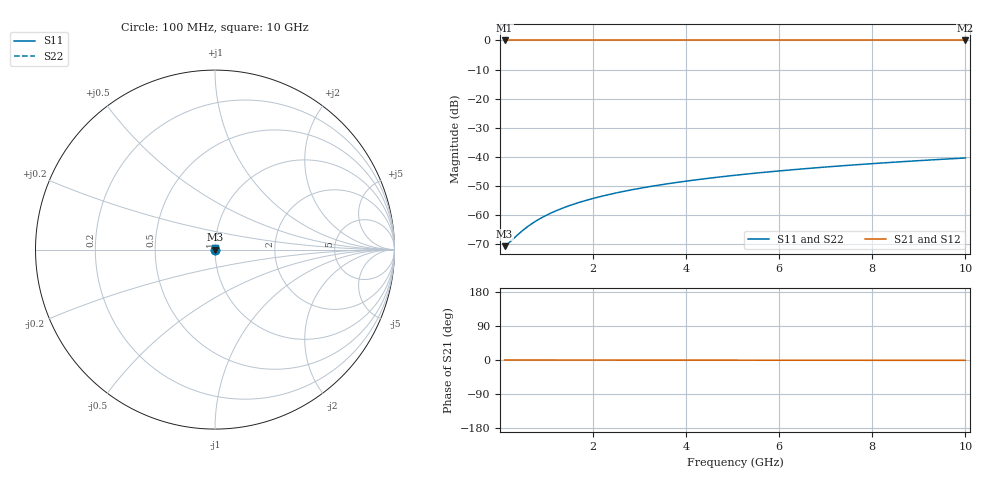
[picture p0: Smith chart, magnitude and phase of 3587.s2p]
# Hz S RI R 50.00
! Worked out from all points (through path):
!   100 points, 100 MHz to 10 GHz, reference 50 ohm
!   highest |S21| = 0.00 dB at 100 MHz (marker M1); lowest = 0.0 dB at 10 GHz (marker M2)
!   lowest |S11| = -70.7 dB at 100 MHz (marker M3), VSWR 1.00, Z = 50 + j0.00951 ohm
!   |S11| at or under -10 dB: start of sweep to end of sweep
!   |S22| runs from -70.7 to -40.4 dB; largest |S21 - S12| = 0
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1e8  0.000275 9.5e-05  0.9997 -0.000156  0.9997 -0.000156  0.000275 9.5e-05
2e8  0.000277 0.00019  0.9997 -0.000311  0.9997 -0.000311  0.000277 0.00019
4e8  0.00028 0.00038  0.9997 -0.000623  0.9997 -0.000623  0.00028 0.00038
5e8  0.000281 0.000475  0.9997 -0.000778  0.9997 -0.000778  0.000281 0.000475
6e8  0.000282 0.00057  0.9997 -0.000934  0.9997 -0.000934  0.000282 0.00057
7e8  0.000283 0.000665  0.9997 -0.00109  0.9997 -0.00109  0.000283 0.000665
9e8  0.000284 0.000855  0.9997 -0.0014  0.9997 -0.0014  0.000284 0.000855
1.1e9  0.000286 0.00105  0.9997 -0.00171  0.9997 -0.00171  0.000286 0.00105
1.3e9  0.000288 0.00124  0.9997 -0.00202  0.9997 -0.00202  0.000288 0.00124
1.5e9  0.000289 0.00143  0.9997 -0.00233  0.9997 -0.00233  0.000289 0.00143
1.8e9  0.000292 0.00171  0.9997 -0.0028  0.9997 -0.0028  0.000292 0.00171
2.1e9  0.000295 0.002  0.9997 -0.00327  0.9997 -0.00327  0.000295 0.002
2.5e9  0.000299 0.00238  0.9997 -0.00389  0.9997 -0.00389  0.000299 0.00238
2.9e9  0.000303 0.00276  0.9997 -0.00452  0.9997 -0.00452  0.000303 0.00276
3.4e9  0.000309 0.00323  0.9997 -0.0053  0.9997 -0.0053  0.000309 0.00323
4.2e9  0.000321 0.00399  0.9997 -0.00654  0.9997 -0.00654  0.000321 0.00399
5.1e9  0.000335 0.00485  0.9997 -0.00795  0.9997 -0.00795  0.000335 0.00485
5.9e9  0.00035 0.00561  0.9996 -0.0092  0.9996 -0.0092  0.00035 0.00561
6.7e9  0.000367 0.00638  0.9996 -0.0104  0.9996 -0.0104  0.000367 0.00638
7.5e9  0.000386 0.00714  0.9996 -0.0117  0.9996 -0.0117  0.000386 0.00714
8.4e9  0.000409 0.008  0.9996 -0.0131  0.9996 -0.0131  0.000409 0.008
1e10  0.000457 0.00954  0.9995 -0.0156  0.9995 -0.0156  0.000457 0.00954
